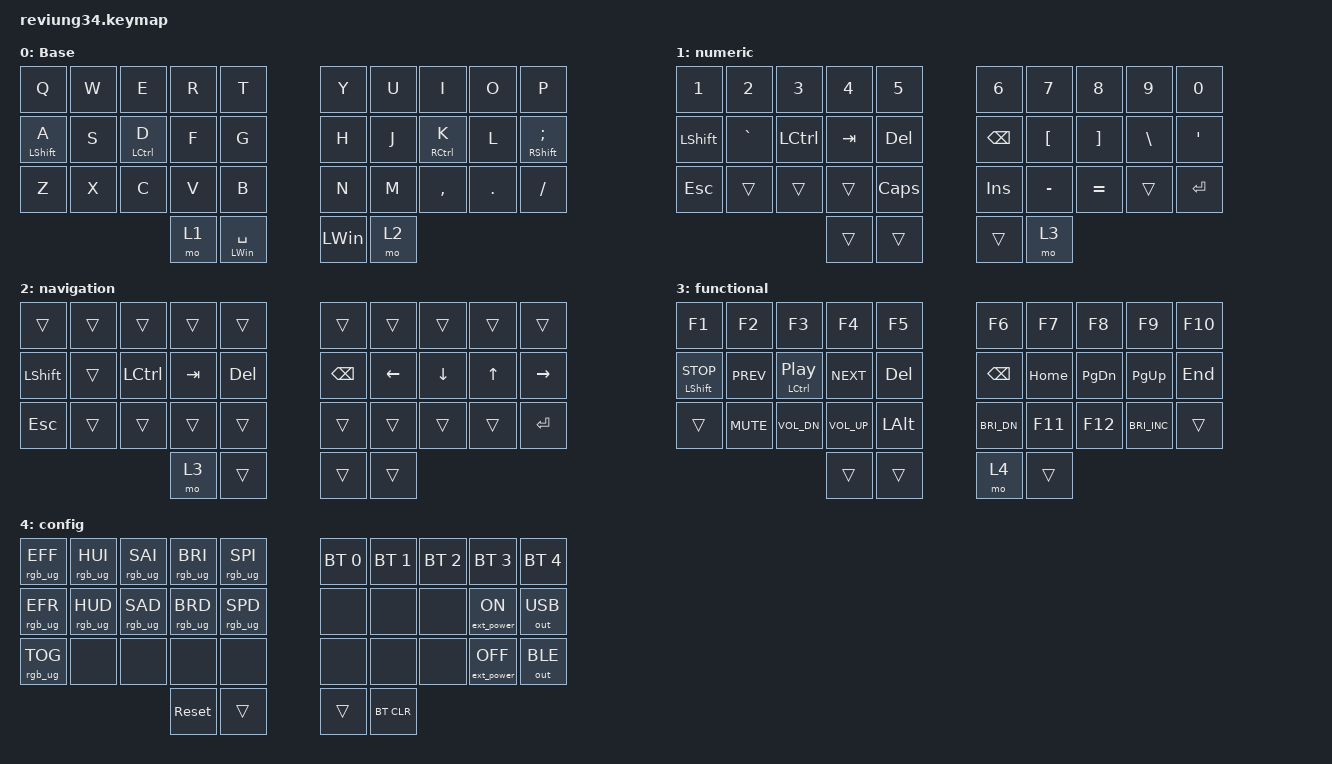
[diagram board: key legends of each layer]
/*
 * Copyright (c) 2023 The ZMK Contributors
 *
 * SPDX-License-Identifier: MIT
 */

#include <behaviors.dtsi>
#include <dt-bindings/zmk/bt.h>
#include <dt-bindings/zmk/ext_power.h>
#include <dt-bindings/zmk/keys.h>
#include <dt-bindings/zmk/outputs.h>
#include <dt-bindings/zmk/rgb.h>

/ {
    chosen {
        // 34 keys.

        zmk,matrix_transform = &dual_1u_transform;

        // 33 keys.
        //zmk,matrix_transform = &single_2u_transform;
    };
};

/ {
    behaviors {
        bhm: balanced_homerow_mods {
            compatible = "zmk,behavior-hold-tap";
            label = "HOMEROW_MODS";
            #binding-cells = <2>;
            tapping-term-ms = <200>;// <---[[moderate duration]]
            quick-tap-ms = <0>;
            flavor = "balanced";
            bindings = <&kp>, <&kp>;
        };
    };
};

/ {
    keymap {
        compatible = "zmk,keymap";

        base {
            label = "Base";
            bindings = <
&kp Q          &kp W  &kp E         &kp R  &kp T  &kp Y                  &kp U         &kp I         &kp O    &kp P
&bhm LSHIFT A  &kp S  &bhm LCTRL D  &kp F  &kp G  &kp H                  &kp J         &bhm RCTRL K  &kp L    &bhm RSHIFT SEMICOLON
&kp Z          &kp X  &kp C         &kp V  &kp B  &kp N                  &kp M         &kp COMMA     &kp DOT  &kp SLASH
                                           &mo 1         &mt LWIN SPACE  &kp LEFT_WIN  &mo 2
            >;
        };

        numeric {
            bindings = <
&kp N1      &kp N2     &kp N3     &kp N4   &kp N5      &kp N6            &kp N7            &kp N8             &kp N9         &kp N0
&kp LSHIFT  &kp GRAVE  &kp LCTRL  &kp TAB  &kp DELETE  &kp BSPC          &kp LEFT_BRACKET  &kp RIGHT_BRACKET  &kp BACKSLASH  &kp SINGLE_QUOTE
&kp ESCAPE  &trans     &trans     &trans   &kp CAPS    &kp INS           &kp MINUS         &kp EQUAL          &trans         &kp ENTER
                                           &trans                &trans  &trans            &mo 3
            >;
        };

        navigation {
            bindings = <
&trans      &trans  &trans     &trans   &trans      &trans                 &trans    &trans    &trans  &trans
&kp LSHIFT  &trans  &kp LCTRL  &kp TAB  &kp DELETE  &kp BACKSPACE          &kp LEFT  &kp DOWN  &kp UP  &kp RIGHT
&kp ESCAPE  &trans  &trans     &trans   &trans      &trans                 &trans    &trans    &trans  &kp ENTER
                                        &mo 3                      &trans  &trans    &trans
            >;
        };

        functional {
            bindings = <
&kp F1             &kp F2      &kp F3                   &kp F4        &kp F5        &kp F6                 &kp F7    &kp F8     &kp F9                &kp F10
&bhm LSHFT K_STOP  &kp K_PREV  &bhm LCTRL C_PLAY_PAUSE  &kp K_NEXT    &kp DELETE    &kp BACKSPACE          &kp HOME  &kp PG_DN  &kp PG_UP             &kp END
&trans             &kp K_MUTE  &kp C_VOL_DN             &kp C_VOL_UP  &kp LEFT_ALT  &kp C_BRI_DN           &kp F11   &kp F12    &kp C_BRIGHTNESS_INC  &trans
                                                                      &trans                       &trans  &mo 4     &trans
            >;
        };

        config {
            bindings = <
&rgb_ug RGB_EFF  &rgb_ug RGB_HUI  &rgb_ug RGB_SAI  &rgb_ug RGB_BRI  &rgb_ug RGB_SPI  &bt BT_SEL 0          &bt BT_SEL 1  &bt BT_SEL 2  &bt BT_SEL 3       &bt BT_SEL 4
&rgb_ug RGB_EFR  &rgb_ug RGB_HUD  &rgb_ug RGB_SAD  &rgb_ug RGB_BRD  &rgb_ug RGB_SPD  &none                 &none         &none         &ext_power EP_ON   &out OUT_USB
&rgb_ug RGB_TOG  &none            &none            &none            &none            &none                 &none         &none         &ext_power EP_OFF  &out OUT_BLE
                                                                    &sys_reset                     &trans  &trans        &bt BT_CLR
            >;
        };
    };
};
